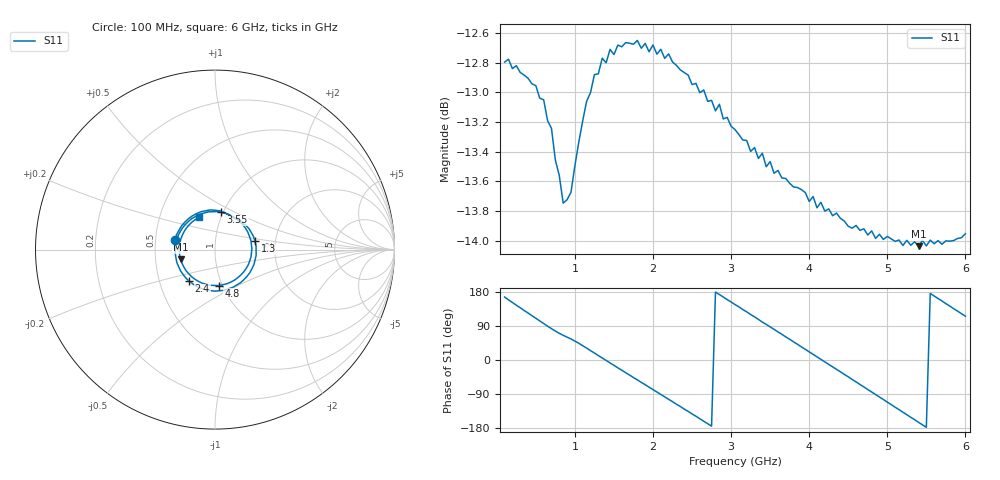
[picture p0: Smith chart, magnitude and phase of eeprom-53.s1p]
! Created with skrf 2.0.0 (http://scikit-rf.org).
# Hz S RI R 50.0
!freq ReS11 ImS11
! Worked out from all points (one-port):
!   119 points, 100 MHz to 6 GHz, reference 50 ohm
!   lowest |S11| = -14.0 dB at 5.4 GHz (marker M1), VSWR 1.50, Z = 33.8 - j3.76 ohm
!   |S11| at or under -10 dB: start of sweep to end of sweep
!   S11 on the Smith chart (normalised r, x): 100 MHz: 0.63, +0.07; 1.3 GHz: 1.56, +0.15; 2.4 GHz: 0.71, -0.26; 3.55 GHz: 0.98, +0.42; 4.8 GHz: 0.96, -0.40; 6 GHz: 0.79, +0.30
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1e8  -0.2225 0.0549
3.5e8  -0.1477 0.1722
5e8  -0.0777 0.2112
7e8  0.0276 0.2159
8.5e8  0.086 0.1865
1.05e9  0.1544 0.1502
1.3e9  0.2223 0.0462
1.45e9  0.2294 -0.031
1.6e9  0.2069 -0.1048
1.8e9  0.1419 -0.1848
2e9  0.048 -0.2272
2.2e9  -0.0548 -0.224
2.35e9  -0.1231 -0.1916
2.4e9  -0.1445 -0.1755
2.75e9  -0.2215 -0.0209
3.05e9  -0.181 0.1206
3.3e9  -0.0867 0.1962
3.55e9  0.0331 0.2076
3.8e9  0.1399 0.1539
4.15e9  0.2055 0.00612
4.35e9  0.185 -0.0854
4.55e9  0.1258 -0.1573
4.8e9  0.0196 -0.2001
5.05e9  -0.0925 -0.1771
5.3e9  -0.1741 -0.0961
5.4e9  -0.1913 -0.0535
5.7e9  -0.1814 0.0818
6e9  -0.0869 0.1808
